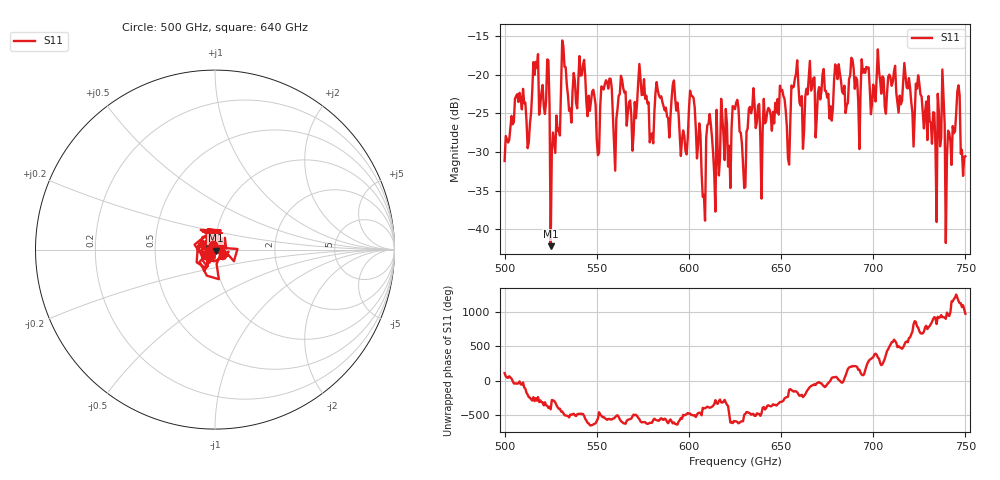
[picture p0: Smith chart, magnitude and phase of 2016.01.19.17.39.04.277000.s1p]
!Created with skrf (http://scikit-rf.org).
# GHz S RI R 50.0
!freq ReS11 ImS11
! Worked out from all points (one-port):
!   401 points, 500 GHz to 750 GHz, reference 50 ohm
!   lowest |S11| = -42.2 dB at 525 GHz (marker M1), VSWR 1.02, Z = 50.5 - j0.621 ohm
!   |S11| at or under -10 dB: start of sweep to end of sweep
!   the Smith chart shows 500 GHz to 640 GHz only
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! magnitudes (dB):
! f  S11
! 500 GHz  -31.2
! 506.9 GHz  -22.5
! 513.1 GHz  -28.7
! 516.9 GHz  -18.4
! 525 GHz  -42.2
! 526.2 GHz  -27.5
! 531.2 GHz  -15.6
! 541.9 GHz  -20.1
! 550.6 GHz  -30.4
! 562.5 GHz  -22.5
! 593.8 GHz  -23.6
! 598.1 GHz  -29.9
! 601.9 GHz  -22.8
! 608.1 GHz  -35.5
! 610.6 GHz  -26.4
! 615 GHz  -24.6
! 625 GHz  -24.5
! 630 GHz  -34.7
! 633.8 GHz  -25.0
! 640 GHz  -27.2
! 650.6 GHz  -22.0
! 653.8 GHz  -30.9
! 656.2 GHz  -21.7
! 687.5 GHz  -20.1
! 718.8 GHz  -21.8
! 740.6 GHz  -27.2
! 745.6 GHz  -22.2
! 750 GHz  -30.6
